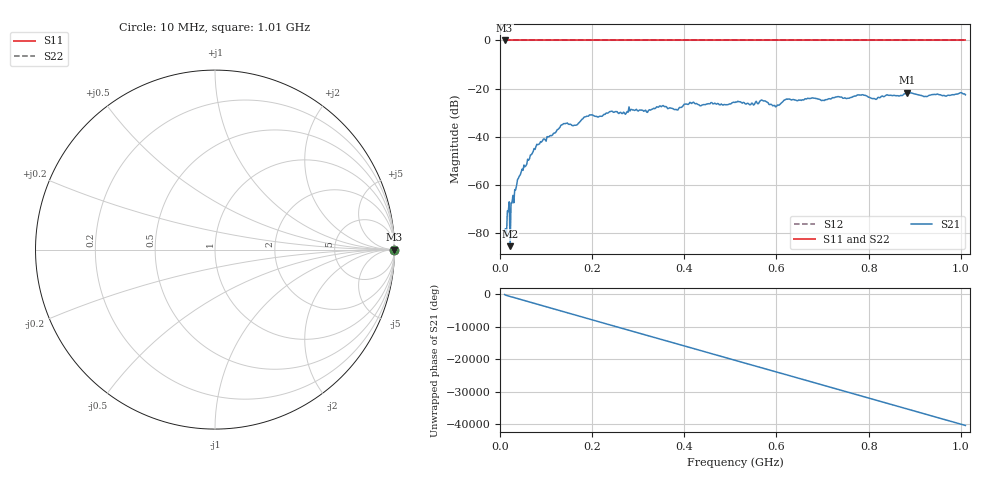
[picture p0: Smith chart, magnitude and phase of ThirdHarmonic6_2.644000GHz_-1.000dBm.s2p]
! 8/17/2025 5:59:40 AM
! C:\ANRITSUVNA\TEMP\TEMP.S2P
! CHANNEL.1
! TR.MEASUREMENT
! RAW.DATA
! RF.CORRECTION.OFF
! AVERAGING.OFF
! IF.BANDWIDTH: 5KHZ
! SWEEPTYPE:  FREQ.SWEEP(Linear)
! Reference Plane Port Info
! PORT:  PORT1  PORT2
! DISTANCE:  0  m  0  m
! TIME:  0  s  0  s
! PHASE.OFFSET:  0  deg.  0  deg.
! LOSS:  0  dB  0  dB
! REF.LOSS:  0  dB  0  dB
! REF.FREQ:  0  Hz  0  Hz
! Power Info
! POWER:  -20  dBm  -20  dBm
! EFF.POWER:  -20  dBm  -20  dBm
! SOURCE.ATTEN:  0  dB  0  dB
! TEST.ATTEN:  0  dB  0  dB
# GHZ S RI R 50.0
! FREQ.GHZ  S11RE  S11IM  S21RE  S21IM  S12RE  S12IM  S22RE  S22IM
!; PortSelection: Port_12
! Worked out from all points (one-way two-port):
!   501 points, 10 MHz to 1.01 GHz, reference 50 ohm
!   highest |S21| = -21.69 dB at 884 MHz (marker M1); lowest = -85.5 dB at 22 MHz (marker M2)
!   lowest |S11| = 0.0 dB at 10 MHz (marker M3)
!   |S11| at or under -10 dB: nowhere
!   |S22| runs from 0.0 to 0.0 dB; largest |S21 - S12| = 1.1
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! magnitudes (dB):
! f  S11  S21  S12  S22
! 10 MHz  0.0  -78.9  0.0  0.0
! 16 MHz  0.0  -70.8  0.0  0.0
! 22 MHz  0.0  -85.5  0.0  0.0
! 26 MHz  0.0  -67.6  0.0  0.0
! 28 MHz  0.0  -64.4  0.0  0.0
! 42 MHz  0.0  -56.4  0.0  0.0
! 78 MHz  0.0  -44.1  0.0  0.0
! 136 MHz  0.0  -35.0  0.0  0.0
! 164 MHz  0.0  -35.3  0.0  0.0
! 178 MHz  0.0  -32.8  0.0  0.0
! 344 MHz  0.0  -27.7  0.0  0.0
! 382 MHz  0.0  -28.7  0.0  0.0
! 416 MHz  0.0  -26.2  0.0  0.0
! 510 MHz  0.0  -25.8  0.0  0.0
! 570 MHz  0.0  -25.0  0.0  0.0
! 596 MHz  0.0  -27.0  0.0  0.0
! 622 MHz  0.0  -24.4  0.0  0.0
! 678 MHz  0.0  -23.9  0.0  0.0
! 814 MHz  0.0  -24.3  0.0  0.0
! 844 MHz  0.0  -22.8  0.0  0.0
! 884 MHz  0.0  -21.7  0.0  0.0
! 1.01 GHz  0.0  -22.6  0.0  0.0
